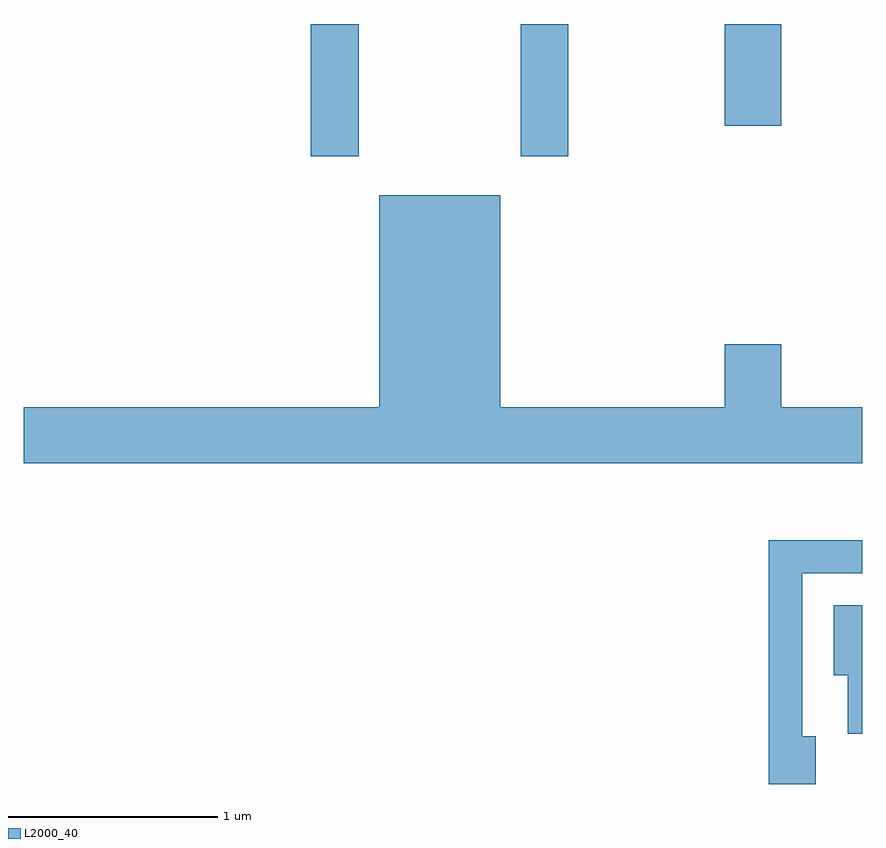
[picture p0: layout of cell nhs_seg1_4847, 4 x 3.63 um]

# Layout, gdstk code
import gdstk
lib = gdstk.Library(unit=1e-6, precision=1e-09)
def R(c, l, rs):  # rectangles x0, y0, x1, y1
    for r in rs: c.add(gdstk.rectangle(r[:2], r[2:], *l))
def P(c, l, *ps):  # polygons
    for p in ps: c.add(gdstk.Polygon(p, *l))
L2000_40 = (2000, 40)

nhs_seg1_4847 = lib.new_cell('nhs_seg1_4847')
R(nhs_seg1_4847, L2000_40, [(332.981,861.081,333.209,861.712), (333.981,861.081,334.209,861.712), (334.956,861.226,335.224,861.712)])
P(nhs_seg1_4847, L2000_40, [(335.611,859.884),(335.224,859.884),(335.224,860.184),(334.956,860.184),(334.956,859.884),(333.884,859.884),(333.884,860.894),(333.306,860.894),(333.306,859.884),(331.611,859.884),(331.611,859.616),(335.611,859.616)],
  [(335.389,858.314),(335.324,858.314),(335.324,859.091),(335.611,859.091),(335.611,859.249),(335.166,859.249),(335.166,858.086),(335.389,858.086)],
  [(335.611,858.939),(335.476,858.939),(335.476,858.606),(335.541,858.606),(335.541,858.326),(335.611,858.326)])

lib.write_gds('nhs_seg1_4847.gds')
